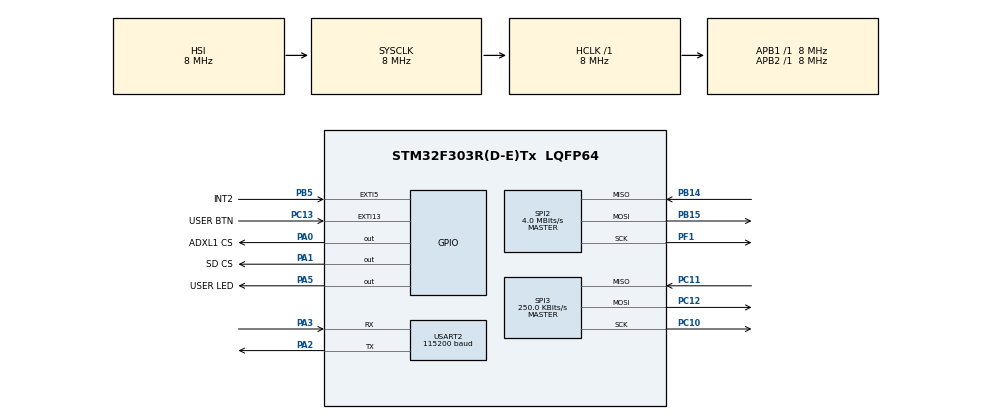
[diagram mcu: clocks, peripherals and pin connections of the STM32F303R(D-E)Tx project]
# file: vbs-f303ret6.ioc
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Dma.Request0=SPI2_RX
Dma.Request1=SPI2_TX
Dma.SPI2_RX.0.Direction=DMA_PERIPH_TO_MEMORY
Dma.SPI2_RX.0.Instance=DMA1_Channel4
Dma.SPI2_RX.0.MemDataAlignment=DMA_MDATAALIGN_BYTE
Dma.SPI2_RX.0.MemInc=DMA_MINC_ENABLE
Dma.SPI2_RX.0.Mode=DMA_NORMAL
Dma.SPI2_RX.0.PeriphDataAlignment=DMA_PDATAALIGN_BYTE
Dma.SPI2_RX.0.PeriphInc=DMA_PINC_DISABLE
Dma.SPI2_RX.0.Priority=DMA_PRIORITY_MEDIUM
Dma.SPI2_TX.1.Direction=DMA_MEMORY_TO_PERIPH
Dma.SPI2_TX.1.Instance=DMA1_Channel5
Dma.SPI2_TX.1.MemDataAlignment=DMA_MDATAALIGN_BYTE
Dma.SPI2_TX.1.MemInc=DMA_MINC_ENABLE
Dma.SPI2_TX.1.Mode=DMA_NORMAL
Dma.SPI2_TX.1.PeriphDataAlignment=DMA_PDATAALIGN_BYTE
Dma.SPI2_TX.1.PeriphInc=DMA_PINC_DISABLE
Dma.SPI2_TX.1.Priority=DMA_PRIORITY_LOW
Mcu.Family=STM32F3
Mcu.Name=STM32F303R(D-E)Tx
Mcu.Package=LQFP64
NVIC.DMA1_Channel4_IRQn=true\:0\:0\:false\:false\:true\:false\:true\:true
NVIC.DMA1_Channel5_IRQn=true\:0\:0\:false\:false\:true\:false\:true\:true
NVIC.EXTI9_5_IRQn=true\:1\:0\:true\:false\:true\:true\:true\:true
NVIC.PriorityGroup=NVIC_PRIORITYGROUP_4
PA0.GPIO_Label=ADXL1 CS
PA0.PinState=GPIO_PIN_SET
PA0.Signal=GPIO_Output
PA1.GPIO_Label=SD CS
PA1.PinState=GPIO_PIN_SET
PA1.Signal=GPIO_Output
PA13.Mode=Serial_Wire
PA13.Signal=SYS_JTMS-SWDIO
PA14.Mode=Serial_Wire
PA14.Signal=SYS_JTCK-SWCLK
PA2.Mode=Asynchronous
PA2.Signal=USART2_TX
PA3.Mode=Asynchronous
PA3.Signal=USART2_RX
PA5.GPIO_Label=USER LED
PA5.Signal=GPIO_Output
PB14.Mode=Full_Duplex_Master
PB14.Signal=SPI2_MISO
PB15.Mode=Full_Duplex_Master
PB15.Signal=SPI2_MOSI
PB5.GPIO_Label=INT2
PB5.GPIO_PuPd=GPIO_NOPULL
PB5.Signal=GPXTI5
PC10.Mode=Full_Duplex_Master
PC10.Signal=SPI3_SCK
PC11.Mode=Full_Duplex_Master
PC11.Signal=SPI3_MISO
PC12.Mode=Full_Duplex_Master
PC12.Signal=SPI3_MOSI
PC13.GPIO_Label=USER BTN
PC13.Signal=GPXTI13
PF1-OSC_OUT.Mode=Full_Duplex_Master
PF1-OSC_OUT.Signal=SPI2_SCK
ProjectManager.HeapSize=0x200
ProjectManager.StackSize=0x400
ProjectManager.TargetToolchain=CMake
RCC.AHBFreq_Value=8000000
RCC.APB1Freq_Value=8000000
RCC.APB2Freq_Value=8000000
RCC.CortexFreq_Value=8000000
RCC.HSE_VALUE=8000000
RCC.HSI_VALUE=8000000
RCC.LSE_VALUE=32768
RCC.SYSCLKFreq_VALUE=8000000
RCC.USBFreq_Value=16000000
SPI2.CLKPhase=SPI_PHASE_2EDGE
SPI2.CLKPolarity=SPI_POLARITY_HIGH
SPI2.CalculateBaudRate=4.0 MBits/s
SPI2.DataSize=SPI_DATASIZE_8BIT
SPI2.Direction=SPI_DIRECTION_2LINES
SPI2.Mode=SPI_MODE_MASTER
SPI2.VirtualType=VM_MASTER
SPI3.BaudRatePrescaler=SPI_BAUDRATEPRESCALER_32
SPI3.CalculateBaudRate=250.0 KBits/s
SPI3.DataSize=SPI_DATASIZE_8BIT
SPI3.Direction=SPI_DIRECTION_2LINES
SPI3.Mode=SPI_MODE_MASTER
SPI3.NSSPMode=SPI_NSS_PULSE_DISABLE
SPI3.VirtualType=VM_MASTER
USART2.BaudRate=115200
USART2.VirtualMode-Asynchronous=VM_ASYNC
VP_FATFS_VS_Generic.Mode=User_defined
board=custom

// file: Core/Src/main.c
/* USER CODE BEGIN Header */
/**
  ******************************************************************************
  * @file           : main.c
  * @brief          : Main program body
  ******************************************************************************
  * @attention
  *
  * Copyright (c) 2026 STMicroelectronics.
  * All rights reserved.
  *
  * This software is licensed under terms that can be found in the LICENSE file
  * in the root directory of this software component.
  * If no LICENSE file comes with this software, it is provided AS-IS.
  *
  ******************************************************************************
  */
/* USER CODE END Header */
#include "main.h"
#include "fatfs.h"

/* USER CODE BEGIN Includes */
#include <stdio.h>
#include <string.h>
#include "initialization.h"
#include "logging.h"
#include <stdint.h>

/* USER CODE END Includes */

/* USER CODE BEGIN PTD */

#define RING_BUFFER_CAPACITY 1024

typedef struct {
  int16_t x;				// x acceleration values
  int16_t y;				// y acceleration values
  int16_t z;				// z acceleration values
} AccelSample;

typedef struct {
  AccelSample samples[RING_BUFFER_CAPACITY];
  uint16_t head;			// Next slot to write
  uint16_t tail;			// Next slot to read
  uint16_t count;			// Number of stored samples
  uint32_t overflow_count;	// Number of samples rejected because the buffer was full
} RingBuffer;

/* USER CODE END PTD */

/* USER CODE BEGIN PD */

#define DEVID_REG             (0x00)  // R

/*
 *  8-bit registers holding user-set offset adjustment
 *  (2's complement), scale factor 15.6 mb/LSB
 */

#define OFSX_REG              (0x1E)  // R/W
#define OFSY_REG              (0x1F)  // R/W
#define OFSZ_REG              (0x20)  // R/W

/*
 *  Interrupt registers
 */

#define INT_ENABLE_REG        (0x2E)  // R/W
#define INT_MAP_REG           (0x2F)  // R/W
#define INT_SOURCE_REG        (0x30)  // R

/*
 *  FIFO registers
 */

#define FIFO_CTL_REG          (0x38)  // R/W
#define FIFO_STATUS_REG       (0x39)  // R

// FIFO access bitmasks

#define FIFO_BYPASS           (0x00)  // 00xx xxxx
#define FIFO_FIFO             (0x40)  // 01xx xxxx
#define FIFO_STREAM           (0x80)  // 10xx xxxx
#define FIFO_TRIGGER          (0xC0)  // 11xx xxxx

#define FIFO_WATERMARK        (0x10)  // watermark = #16 (interrupt at 16 FIFO entries)

/*
 *  Initialized registers for data formatting and ODR, respectively
 */

#define BW_RATE_REG           (0x2C)  // R/W
#define POWER_CTL_REG         (0x2D)  // R/W
#define DATA_FORMAT_REG       (0x31)  // R/W

/*
 *  Axes raw acceleration data (SEXT 10b 2's comp)
 *  For register Ax (where A is X/Y/Z and x is 0/1), assuming right justify (DATA_FORMAT)
 *  A1: MSB, D[15:8]; D[15:10]: sign extension
 *  A0: LSB, D[7:0]
 */

#define DATA_X0_REG           (0x32)  // R
#define DATA_X1_REG           (0x33)  // R
#define DATA_Y0_REG           (0x34)  // R
#define DATA_Y1_REG           (0x35)  // R
#define DATA_Z0_REG           (0x36)  // R
#define DATA_Z1_REG           (0x37)  // R

// ODR (output data rates)

#define ODR_3200              (0x0F)
#define ODR_1600              (0x0E)
#define ODR_800               (0x0D)
#define ODR_400               (0x0C)
#define ODR_200               (0x0B)  // You can see the pattern, realistically we won't be measuring at any ODR < 200

// Other miscellaneous defines

#define MAX_FIFO_ENTRIES      32      // The FIFO register can hold a max of 32 entries.
#define BYTES_PER_ENTRY       6       // Each entry consists of 2 bytes for each axis X, Y, Z (2*3=6)

// SPI access bitmasks

#define VERIFY                (0xE5)  // ID code 0xE5
#define ADXL345_RW            (0x80)  // Bit 7 (MSB)  R/W'
#define ADXL345_MB            (0x40)  // Bit 6 (MB)   multibyte

/*
 *  ADXL345 CS configurations; CS is active low therefore pull low for slave access
 *  ADXL1_CS_LOW:   Pulls CS GPIO low (0)
 *  ADXL1_CS_HIGH:  Pulls CS GPIO high (1)
 */

#define ADXL_CS_PORT           GPIOA			// ik I defined a ADXL_CS in the .ioc but I'm too lazy to change it LOL
#define ADXL_CS_PIN            GPIO_PIN_0

#define ADXL1_CS_LOW()   HAL_GPIO_WritePin(ADXL_CS_PORT, ADXL_CS_PIN, GPIO_PIN_RESET)
#define ADXL1_CS_HIGH()  HAL_GPIO_WritePin(ADXL_CS_PORT, ADXL_CS_PIN, GPIO_PIN_SET)

/* USER CODE END PD */

SPI_HandleTypeDef hspi2;
SPI_HandleTypeDef hspi3;
DMA_HandleTypeDef hdma_spi2_rx;
DMA_HandleTypeDef hdma_spi2_tx;

UART_HandleTypeDef huart2;

/* USER CODE BEGIN PV */

/*
 *  Declare variables
 */
const     uint16_t  odr __attribute__((unused)) = 3200;      // output data rate

volatile  uint8_t   dma_complete  = 0;      // DMA transfer complete flag
volatile  uint8_t   dma_entries   = 0;      // how many entries DMA is reading
volatile  uint8_t   btn_pressed   = 0;

static volatile uint32_t	isr_count = 0, isr_cycles_max = 0;					// counter for interrupt service routine AND running max of FIFO drain
static			uint32_t	adxl_overruns =	0;						// counter for the number of times ADXL345 overruns
static			uint8_t		raw[MAX_FIFO_ENTRIES * BYTES_PER_ENTRY];	// 192 bytes global DMA buffer
static			RingBuffer	accel_buffer = {0};							// Software ring buffer for decoded XYZ samples

/* USER CODE END PV */

void SystemClock_Config(void);
static void MX_GPIO_Init(void);
static void MX_DMA_Init(void);
static void MX_SPI2_Init(void);
static void MX_USART2_UART_Init(void);
static void MX_SPI3_Init(void);

/* USER CODE BEGIN 0 */

/**
  *  @brief   Performs a us wait.
  *
  *  Note (Joseph): From HAL manual, "HAL_Delay... This function provides accurate delay
  *  (in milliseconds) based on variable incremented."
  *
  *  Note: ADXL345 Datasheet, 21/36, "A delay of at least 5 μs should be present between
  *  the trigger event occurring and the start of reading data from the FIFO to allow the FIFO to
  *  discard and retain the necessary samples."
  *
  *  ^ We need to have to have higher wait precision, hence this function.
  *
  *  @param   us    uint32_t value specifying time to wait, in microseconds
  */
static void DELAY_US(uint32_t us)
{
  uint32_t t = DWT->CYCCNT, ticks = us * (SystemCoreClock / 1000000UL);
  while ((DWT->CYCCNT - t) < ticks) {}
}

/**
  *  @brief   Write to one register with a singular SPI transaction
  *
  *  @param   reg   register address
  *  @param   value uint_t value to be written into specified register
  */
void SPI_WRITE(uint8_t reg, uint8_t value)
{
  /*
   *  For write:
   *  tx[1][7] = R/W', tx[1][6] = MB, tx[1][5:0] = Register address bits
   *  tx[2][7:0] = Data bits
   */

  uint8_t tx[2] = {(reg & ~ADXL345_RW), value};
  ADXL1_CS_LOW();
  HAL_SPI_Transmit(&hspi2, tx, 2, HAL_MAX_DELAY);
  ADXL1_CS_HIGH();
}

/**
  *  @brief   Receive a block of data from a singular SPI transaction
  *
  *  @param   reg   first register address
  *  @param   pData pointer to uint_8 transmit data buffer
  *  @param   len   consecutive number of registers to read from, inclusive (i.e., [reg:reg+len-1])
  */
void SPI_WRITE_BURST(uint8_t reg, uint8_t *pData, uint8_t len)
{
  /*
   *  For read:
   *  tx[7] = R/W', tx[6] = MB (1), tx[5:0] = Register address bits
   *  rx[7:0] = Data bits
   */

  uint8_t tx[len];
  tx[0]     = ((reg & ~ADXL345_RW) | ADXL345_MB);
  memcpy(&tx[len+1], pData, len);
  ADXL1_CS_LOW();
  HAL_SPI_Transmit(&hspi2, tx, len, HAL_MAX_DELAY);
  ADXL1_CS_HIGH();
}

/**
  *  @brief   Read one register from a singular SPI transaction
  *
  *  @param   reg register address
  *  @retval  rx data
  */
uint8_t SPI_READ(uint8_t reg)
{
  /*
   *  For read:
   *  tx[7] = R/W', tx[6] = MB (kept at 0), tx[5:0] = Register address bits
   *  rx[7:0] = Data bits
   */
  uint8_t tx  = (reg | ADXL345_RW);
  uint8_t rx  = 0;
  ADXL1_CS_LOW();
  HAL_SPI_Transmit(&hspi2, &tx, 1, HAL_MAX_DELAY);
  HAL_SPI_Receive(&hspi2, &rx, 1, HAL_MAX_DELAY);
  ADXL1_CS_HIGH();
  return rx;
}

/**
  *  @brief   Receive a block of data from a singular SPI transaction
  *
  *  @param   reg   first register address
  *  @param   pData pointer to uint_8 data buffer
  *  @param   len   consecutive number of registers to read from, inclusive (i.e., [reg:reg+len-1])
  */
void SPI_READ_BURST(uint8_t reg, uint8_t *pData, uint8_t len)
{
  /*
   *  For read:
   *  tx[7] = R/W', tx[6] = MB (1), tx[5:0] = Register address bits
   *  rx[7:0] = Data bits
   */

  uint8_t tx  = (reg | ADXL345_RW | ADXL345_MB);
  ADXL1_CS_LOW();
  HAL_SPI_Transmit(&hspi2, &tx, 1, HAL_MAX_DELAY);
  HAL_SPI_Receive(&hspi2, pData, len, HAL_MAX_DELAY);
  ADXL1_CS_HIGH();
}

/**
  *  @brief   Start a non-blocking DMA burst read from ADXL345 FIFO
  *
  *  @note    CS stays LOW until HAL_SPI_RxCpltCallback raises it
  *  @param   pData  pointer to destination buffer
  *  @param   len    number of bytes to receive
  */
void SPI_READ_BURST_DMA(uint8_t *pData, uint8_t len)
{
  static uint8_t tx_addr;   // static so it persists after function returns
  tx_addr = (DATA_X0_REG | ADXL345_RW | ADXL345_MB);

  ADXL1_CS_LOW();
  HAL_SPI_Transmit(&hspi2, &tx_addr, 1, HAL_MAX_DELAY);   // send address
  HAL_SPI_Receive_DMA(&hspi2, pData, len);                            // DMA takes over
  /* NOTE!! CS goes HIGH in HAL_SPI_RxCpltCallback */
}

// clears FIFO
uint8_t DRAIN_FIFO(void)
{
  uint8_t drain = SPI_READ(FIFO_STATUS_REG) & 0x3F;   // drains FIFO
  for (uint8_t i = 0; i < drain; i++)
  {
    uint8_t dummy[6];
    SPI_READ_BURST(DATA_X0_REG, dummy, 6);
  }
  SPI_READ(INT_SOURCE_REG);                           // clears watermark latch
  return drain;
}

/**
  *  @brief   Call from EXTI interrupt only.
  *
  *  Note: ADXL345 Datasheet, 27/36, "Bits set to 1 in this register indicate that
  *  their respective functions have triggered an event, whereas a value of 0
  *  indicates that the corresponding event has not occurred."
  *
  *  adxl_overrun		static uint_32t (1 memory location)
  *  Set ^ flag if LSB of INT_SOURCE register indicates FIFO has overrun.
  *
  *
  */
void FIFO_DRAIN_TO_LOG(void)
{
	if (SPI_READ(INT_SOURCE_REG) & 0x01)	// read bit 0 BEFORE draining, if bit 0 == 1, OVERRUN has occurred
	{
		adxl_overruns++;
	}

	uint8_t n = SPI_READ(FIFO_STATUS_REG) & 0x3F;	// read # entries of FIFO_STATUS register
	if (n > MAX_FIFO_ENTRIES) n = MAX_FIFO_ENTRIES;         /* raw[] holds 32 */

	for (uint8_t i = 0; i < n; i++)
	{
		SPI_READ_BURST(DATA_X0_REG, &raw[i * BYTES_PER_ENTRY], 6);  // one entry per CS cycle
		DELAY_US(6);                                                        // datasheet: >=5 us between FIFO pops
	}
	LOGGING_ADD_SAMPLES(raw, n);

	// if the interrupt is STILL high, we need to repend it in Software Interrupt Event Register
	if (HAL_GPIO_ReadPin(INT2_GPIO_Port, INT2_Pin) == GPIO_PIN_SET)
    __HAL_GPIO_EXTI_GENERATE_SWIT(INT2_Pin);

}

/* USER CODE END 0 */

int main(void)
{

  /* USER CODE BEGIN 1 */
  setvbuf(stdout, NULL, _IONBF, 0);
  /* USER CODE END 1 */

  /* MCU Configuration--------------------------------------------------------*/

  /* Reset of all peripherals, Initializes the Flash interface and the Systick. */
  HAL_Init();

  /* Configure the system clock */
  SystemClock_Config();

  /* Initialize all configured peripherals */
  MX_GPIO_Init();
  MX_DMA_Init();
  MX_SPI2_Init();
  MX_USART2_UART_Init();
  MX_FATFS_Init();
  MX_SPI3_Init();
  /* USER CODE BEGIN 2 */
  HAL_GPIO_WritePin(GPIOA, GPIO_PIN_5, GPIO_PIN_SET);

  char msg[] = "[BOOT]\r\n";
  HAL_UART_Transmit(&huart2, (uint8_t*)msg, strlen(msg), HAL_MAX_DELAY);

  // Initialization and troubleshooting
  ADXL1_CS_HIGH();          // SPI has CS active LOW, default HIGH

  uint8_t id  = SPI_READ(DEVID_REG);
  if (id == VERIFY) {
    printf("[PASS] Device ID = 0x%02X\r\n", id);
  }
  else {
    printf("[FAIL] Connection to device could not be established = 0x%02X\r\n", id);
    Error_Handler();
  }

  SPI_WRITE(INT_ENABLE_REG, 0x00); // disables interrupts

  /*
   *  Sets the BW_RATE register (for ODR)
   *  D[7:4]: 0
   *  D[3:0]: RATE BITS (ADXL345 datasheet, Table 7)
   */
  SPI_WRITE(BW_RATE_REG, ODR_3200);   // Sets ODR to ODR_# Hz (bandwidth #/2 Hz)
  // printf("BW RATE: 0x%02X\r\n", SPI_READ(BW_RATE_REG));

  /*
   *  Sets the FIFO_CTL register
   *  D[7:6]: FIFO MODE   = 10    (Stream mode)
   *  D[5]:               = 1     (Trigger event of trigger mode linked to INT2)
   *  D[4:0]:             = 10000 (#16 FIFO entries to trigger watermark interrupt)
   *
   *  0b10110000 > 0x90
   */
  SPI_WRITE(FIFO_CTL_REG, FIFO_STREAM | 0x10 | FIFO_WATERMARK);
  // printf("FIFO CTL: 0x%02X\r\n", SPI_READ(FIFO_CTL_REG));   // expected 0xB0

  /*
   *  Sets the INT_MAP register
   *  Same meaning as above, any interrupts from respective
   *  functions (e.g., WATERMARK) is sent to INT1 if = 0,
   *  INT2 if 1.
   *
   *  0b00000011 > 0x02
   */
  SPI_WRITE(INT_MAP_REG, 0x02);
  // printf("INT MAP: 0x%02X\r\n", SPI_READ(INT_MAP_REG));

  /*
   *  Sets the DATA_FORMAT register
   *  D7:     SELF TEST   = 0
   *  D6:     SPI         = 0   (Full duplex, 4w)
   *  D5:     INT_INVERT  = 0   (Interrupts active high)
   *  D4:                   0
   *  D3:     FULL_RES    = 1   (4 mg/LSB scale factor)
   *  D2:     JUSTIFY     = 0   (right justify)
   *  D[1:0]: RANGE BITS  = 11  (+/- 16g)
   *
   *  0b00001011 > 0x0B
   */
  SPI_WRITE(DATA_FORMAT_REG, 0x0B);
  // printf("DATA FORMAT: 0x%02X\r\n", SPI_READ(DATA_FORMAT_REG));

  /*
   *  Sets the POWER_CTL register
   *  D[7:6]:               00
   *  D5:     LINK        = 0   (inactivity/activity functions concurrent)
   *  D4:     AUTO_SLEEP  = 0   (disable auto-sleep)
   *  D3:     MEASURE     = 1   (enable measurement mode)
   *  D2:     SLEEP       = 0   (disable sleep mode)
   *  D[1:0]: WAKEUP BITS = xx  (frequency of reading during sleep mode, not relevant)
   *
   *  0b00001000 > 0x08
   */
  SPI_WRITE(POWER_CTL_REG, 0x08);
  // printf("POWER CTL: 0x%02X\r\n", SPI_READ(POWER_CTL_REG));
  // HAL_Delay(1000); // 1-second delay for checking register return values

	// SD Card inits
	DISKIO_INIT();
	FATFS_INIT();
	LOGGING_INIT();

	// Drains FIFO buffer in ADXL345 peripheral
	// printf("Drained %d stale FIFO entries\r\n", DRAIN_FIFO());
	__HAL_GPIO_EXTI_CLEAR_IT(INT2_Pin);

	/*
 *  Sets the INT_ENABLE register
 *  D7:     DATA READY  = 0
 *  D[6:5]: TAP EVENTS    xx
 *  D[4:3]: ACTIVITY      xx
 *  D2:     FREE FALL     x
 *  D1:     WATERMARK   = 1
 *  D0:     OVERRUN     = 0
 *
 *  0b00000011 > 0x02
 */

	__HAL_GPIO_EXTI_CLEAR_IT(INT2_Pin);				// clears pending bits from setup; UM1786 p. 221
	HAL_NVIC_DisableIRQ(EXTI9_5_IRQn);
	SPI_WRITE(INT_ENABLE_REG, 0x02);		// unblocks INT2
	// printf("INT ENABLE: 0x%02X\r\n", SPI_READ(INT_ENABLE_REG));
	HAL_NVIC_EnableIRQ(EXTI9_5_IRQn);

  HAL_GPIO_WritePin(GPIOA, GPIO_PIN_5, GPIO_PIN_RESET);

  /* USER CODE END 2 */

  /* Infinite loop */
  /* USER CODE BEGIN WHILE */

	uint32_t last = HAL_GetTick();	// variable for time in ms

  while (1)
  {
  	// LOGGING_TASK from logging.c
  	LOGGING_TASK();

  	/*	basically this checks every 1 second, debug purposes only
  	 *	---
	 *	isr_count: number of interrupts since startup
	 *	isr_cycles_max:	longest time it takes to write
	 *	adxl_overruns: number of times FIFO buffer is overrun in ADXL
	 *	LOGGING_GET_OVERFLOW_COUNT(): number of times ring buffer has overflown
	 *	LOGGING_GET_BLOCKS_WRITTEN(): number of blks successfully written to SD card
	 *	LOGGING_IS_ACTIVE(): boolean value for whether logging is active (1 true, 0 false)
	 */
  	if (HAL_GetTick() - last >= 1000)
  	{
  	  last += 1000;
  	  printf("i=%lu max=%luus a_ovr=%lu rb_ovr=%lu wr=%lu a?=%u\r\n",
      (unsigned long)isr_count,
      (unsigned long)(isr_cycles_max / (SystemCoreClock / 1000000UL)),
      (unsigned long)adxl_overruns,
      (unsigned long)LOGGING_GET_OVERFLOW_COUNT(),
      (unsigned long)LOGGING_GET_BLOCKS_WRITTEN(),
      (unsigned)LOGGING_IS_ACTIVE());
  	  if (LOGGING_IS_ACTIVE()) { HAL_GPIO_WritePin(GPIOA, GPIO_PIN_5, GPIO_PIN_SET); }
  	  else { HAL_GPIO_WritePin(GPIOA, GPIO_PIN_5, GPIO_PIN_RESET); }
  	}

    /* USER CODE END WHILE */

  }
}

void SystemClock_Config(void)
{
  RCC_OscInitTypeDef RCC_OscInitStruct = {0};
  RCC_ClkInitTypeDef RCC_ClkInitStruct = {0};
  RCC_PeriphCLKInitTypeDef PeriphClkInit = {0};

  /** Initializes the RCC Oscillators according to the specified parameters
  * in the RCC_OscInitTypeDef structure.
  */
  RCC_OscInitStruct.OscillatorType = RCC_OSCILLATORTYPE_HSI;
  RCC_OscInitStruct.HSIState = RCC_HSI_ON;
  RCC_OscInitStruct.HSICalibrationValue = RCC_HSICALIBRATION_DEFAULT;
  RCC_OscInitStruct.PLL.PLLState = RCC_PLL_NONE;
  if (HAL_RCC_OscConfig(&RCC_OscInitStruct) != HAL_OK)
  {
    Error_Handler();
  }

  /** Initializes the CPU, AHB and APB buses clocks
  */
  RCC_ClkInitStruct.ClockType = RCC_CLOCKTYPE_HCLK|RCC_CLOCKTYPE_SYSCLK
                              |RCC_CLOCKTYPE_PCLK1|RCC_CLOCKTYPE_PCLK2;
  RCC_ClkInitStruct.SYSCLKSource = RCC_SYSCLKSOURCE_HSI;
  RCC_ClkInitStruct.AHBCLKDivider = RCC_SYSCLK_DIV1;
  RCC_ClkInitStruct.APB1CLKDivider = RCC_HCLK_DIV1;
  RCC_ClkInitStruct.APB2CLKDivider = RCC_HCLK_DIV1;

  if (HAL_RCC_ClockConfig(&RCC_ClkInitStruct, FLASH_LATENCY_0) != HAL_OK)
  {
    Error_Handler();
  }
  PeriphClkInit.PeriphClockSelection = RCC_PERIPHCLK_USART2;
  PeriphClkInit.Usart2ClockSelection = RCC_USART2CLKSOURCE_PCLK1;
  if (HAL_RCCEx_PeriphCLKConfig(&PeriphClkInit) != HAL_OK)
  {
    Error_Handler();
  }
}

static void MX_SPI2_Init(void)
{

  /* USER CODE BEGIN SPI2_Init 1 */

  /*
   *  Note that APB1 clock runs at 8 MHz
   *  with the current clock configuration.
   *
   *  SPI2 BaudRatePrescaler is 2:
   *  8 MHz / 2 = 4 MHz SPI clock speed
   *
   *  The ADXL345 has a max SPI clock speed of 5 MHz
   *  4 MHz < 5 MHz : within spec
   */

  /* USER CODE END SPI2_Init 1 */
  /* SPI2 parameter configuration*/
  hspi2.Instance = SPI2;
  hspi2.Init.Mode = SPI_MODE_MASTER;
  hspi2.Init.Direction = SPI_DIRECTION_2LINES;
  hspi2.Init.DataSize = SPI_DATASIZE_8BIT;
  hspi2.Init.CLKPolarity = SPI_POLARITY_HIGH;
  hspi2.Init.CLKPhase = SPI_PHASE_2EDGE;
  hspi2.Init.NSS = SPI_NSS_SOFT;
  hspi2.Init.BaudRatePrescaler = SPI_BAUDRATEPRESCALER_2;
  hspi2.Init.FirstBit = SPI_FIRSTBIT_MSB;
  hspi2.Init.TIMode = SPI_TIMODE_DISABLE;
  hspi2.Init.CRCCalculation = SPI_CRCCALCULATION_DISABLE;
  hspi2.Init.CRCPolynomial = 7;
  hspi2.Init.CRCLength = SPI_CRC_LENGTH_DATASIZE;
  hspi2.Init.NSSPMode = SPI_NSS_PULSE_DISABLE;
  if (HAL_SPI_Init(&hspi2) != HAL_OK)
  {
    Error_Handler();
  }
  /* USER CODE BEGIN SPI2_Init 2 */
  hspi2.Init.DataSize = SPI_DATASIZE_8BIT;
  hspi2.Init.NSSPMode = SPI_NSS_PULSE_DISABLE;
  /* USER CODE END SPI2_Init 2 */

}

static void MX_SPI3_Init(void)
{

  /* SPI3 parameter configuration*/
  hspi3.Instance = SPI3;
  hspi3.Init.Mode = SPI_MODE_MASTER;
  hspi3.Init.Direction = SPI_DIRECTION_2LINES;
  hspi3.Init.DataSize = SPI_DATASIZE_8BIT;
  hspi3.Init.CLKPolarity = SPI_POLARITY_LOW;
  hspi3.Init.CLKPhase = SPI_PHASE_1EDGE;
  hspi3.Init.NSS = SPI_NSS_SOFT;
  hspi3.Init.BaudRatePrescaler = SPI_BAUDRATEPRESCALER_32;
  hspi3.Init.FirstBit = SPI_FIRSTBIT_MSB;
  hspi3.Init.TIMode = SPI_TIMODE_DISABLE;
  hspi3.Init.CRCCalculation = SPI_CRCCALCULATION_DISABLE;
  hspi3.Init.CRCPolynomial = 7;
  hspi3.Init.CRCLength = SPI_CRC_LENGTH_DATASIZE;
  hspi3.Init.NSSPMode = SPI_NSS_PULSE_DISABLE;
  if (HAL_SPI_Init(&hspi3) != HAL_OK)
  {
    Error_Handler();
  }
  /* USER CODE BEGIN SPI3_Init 2 */
  hspi3.Init.DataSize = SPI_DATASIZE_8BIT;
  hspi3.Init.NSSPMode = SPI_NSS_PULSE_DISABLE;
  /* USER CODE END SPI3_Init 2 */

}

static void MX_USART2_UART_Init(void)
{

  huart2.Instance = USART2;
  huart2.Init.BaudRate = 115200;
  huart2.Init.WordLength = UART_WORDLENGTH_8B;
  huart2.Init.StopBits = UART_STOPBITS_1;
  huart2.Init.Parity = UART_PARITY_NONE;
  huart2.Init.Mode = UART_MODE_TX_RX;
  huart2.Init.HwFlowCtl = UART_HWCONTROL_NONE;
  huart2.Init.OverSampling = UART_OVERSAMPLING_16;
  huart2.Init.OneBitSampling = UART_ONE_BIT_SAMPLE_DISABLE;
  huart2.AdvancedInit.AdvFeatureInit = UART_ADVFEATURE_NO_INIT;
  if (HAL_UART_Init(&huart2) != HAL_OK)
  {
    Error_Handler();
  }

}

static void MX_DMA_Init(void)
{

  /* DMA controller clock enable */
  __HAL_RCC_DMA1_CLK_ENABLE();

  /* DMA interrupt init */
  /* DMA1_Channel4_IRQn interrupt configuration */
  HAL_NVIC_SetPriority(DMA1_Channel4_IRQn, 0, 0);
  HAL_NVIC_EnableIRQ(DMA1_Channel4_IRQn);
  /* DMA1_Channel5_IRQn interrupt configuration */
  HAL_NVIC_SetPriority(DMA1_Channel5_IRQn, 0, 0);
  HAL_NVIC_EnableIRQ(DMA1_Channel5_IRQn);

}

static void MX_GPIO_Init(void)
{
  GPIO_InitTypeDef GPIO_InitStruct = {0};

  /* GPIO Ports Clock Enable */
  __HAL_RCC_GPIOC_CLK_ENABLE();
  __HAL_RCC_GPIOF_CLK_ENABLE();
  __HAL_RCC_GPIOA_CLK_ENABLE();
  __HAL_RCC_GPIOB_CLK_ENABLE();

  /*Configure GPIO pin Output Level */
  HAL_GPIO_WritePin(GPIOA, ADXL1_CS_Pin|SD_CS_Pin, GPIO_PIN_SET);

  /*Configure GPIO pin Output Level */
  HAL_GPIO_WritePin(USER_LED_GPIO_Port, USER_LED_Pin, GPIO_PIN_RESET);

  /*Configure GPIO pin : USER_BTN_Pin */
  GPIO_InitStruct.Pin = USER_BTN_Pin;
  GPIO_InitStruct.Mode = GPIO_MODE_IT_RISING;
  GPIO_InitStruct.Pull = GPIO_NOPULL;
  HAL_GPIO_Init(USER_BTN_GPIO_Port, &GPIO_InitStruct);

  /*Configure GPIO pins : ADXL1_CS_Pin SD_CS_Pin USER_LED_Pin */
  GPIO_InitStruct.Pin = ADXL1_CS_Pin|SD_CS_Pin|USER_LED_Pin;
  GPIO_InitStruct.Mode = GPIO_MODE_OUTPUT_PP;
  GPIO_InitStruct.Pull = GPIO_NOPULL;
  GPIO_InitStruct.Speed = GPIO_SPEED_FREQ_LOW;
  HAL_GPIO_Init(GPIOA, &GPIO_InitStruct);

  /*Configure GPIO pin : INT2_Pin */
  GPIO_InitStruct.Pin = INT2_Pin;
  GPIO_InitStruct.Mode = GPIO_MODE_IT_RISING;
  GPIO_InitStruct.Pull = GPIO_NOPULL;
  HAL_GPIO_Init(INT2_GPIO_Port, &GPIO_InitStruct);

  /* EXTI interrupt init*/
  HAL_NVIC_SetPriority(EXTI9_5_IRQn, 1, 0);
  HAL_NVIC_EnableIRQ(EXTI9_5_IRQn);

}

/* USER CODE BEGIN 4 */

// Overrides putchar function to transmit printing to ST-LINK via USART2
int __io_putchar(int ch)
{
  HAL_UART_Transmit(&huart2, (uint8_t*)&ch, 1, HAL_MAX_DELAY);
  return ch;
}

/**
 *  @brief  Handles interrupt from GPIO pins
 *
 *  @param  value from GPIO_Pin
 */
void HAL_GPIO_EXTI_Callback(uint16_t GPIO_Pin)
{
	if (GPIO_Pin == INT2_Pin)
	{
		uint32_t t0 = DWT->CYCCNT;						// current time
		FIFO_DRAIN_TO_LOG();
		uint32_t dt = DWT->CYCCNT - t0;					// change in time after draining to log
		if (dt > isr_cycles_max) isr_cycles_max = dt;	// sets running max
		isr_count++;									// increments interrupt counter
	}
  /*
  if (GPIO_Pin == USER_BTN_Pin)
  {
    btn_pressed = 1;
  }
  */
}

void HAL_SPI_RxCpltCallback(SPI_HandleTypeDef *hspi)
{
  if (hspi->Instance == SPI2)
  {
    ADXL1_CS_HIGH();    // deassert CS
    dma_complete = 1;   // signal main loop
  }
}

/* USER CODE END 4 */

void Error_Handler(void)
{
  /* USER CODE BEGIN Error_Handler_Debug */
  /* User can add his own implementation to report the HAL error return state */
  printf("[ERROR]");
  __disable_irq();
  while (1)
  {
  }
  /* USER CODE END Error_Handler_Debug */
}
